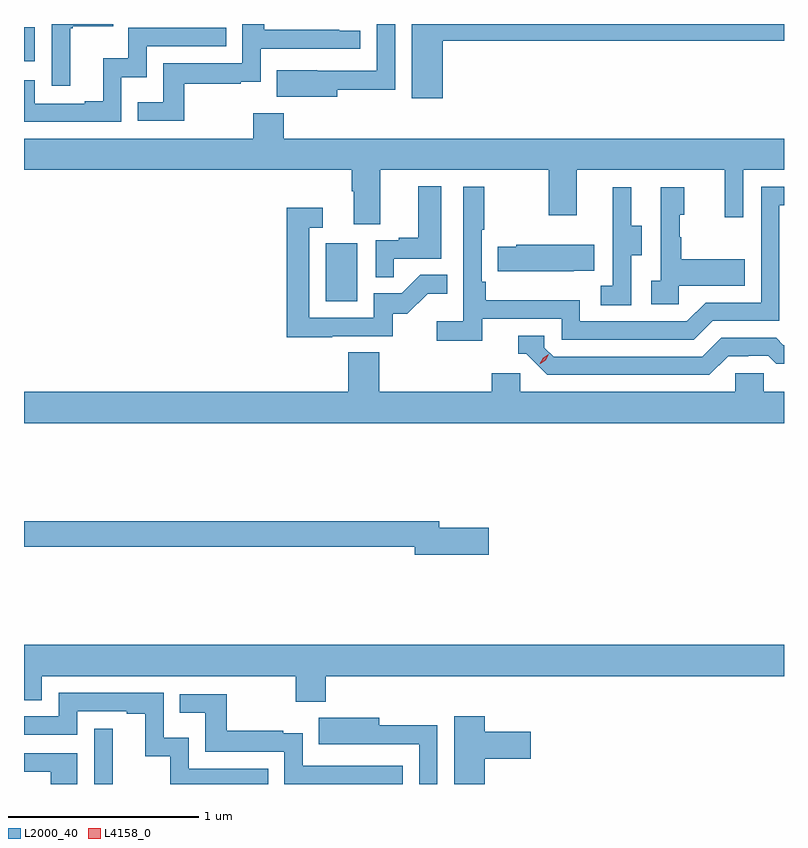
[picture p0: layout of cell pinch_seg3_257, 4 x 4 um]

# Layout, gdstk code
import gdstk
lib = gdstk.Library(unit=1e-6, precision=1e-09)
def R(c, l, rs):  # rectangles x0, y0, x1, y1
    for r in rs: c.add(gdstk.rectangle(r[:2], r[2:], *l))
def P(c, l, *ps):  # polygons
    for p in ps: c.add(gdstk.Polygon(p, *l))
L2000_40 = (2000, 40)
L4158_0 = (4158, 0)

pinch_seg3_257 = lib.new_cell('pinch_seg3_257')
R(pinch_seg3_257, L2000_40, [(925.116,720.328,925.213,720.619), (926.336,722.868,926.5,723.175), (924.747,724.131,924.804,724.311)])
P(pinch_seg3_257, L2000_40, [(926.95,724.24),(928.747,724.24),(928.747,724.328),(926.789,724.328),(926.789,723.936),(926.95,723.936)],
  [(924.991,724.305),(925.003,724.305),(925.003,724.316),(925.216,724.316),(925.216,724.328),(924.894,724.328),(924.894,724.002),(924.991,724.002)],
  [(926.395,723.982),(926.7,723.982),(926.7,724.328),(926.604,724.328),(926.604,724.083),(926.291,724.083),(926.291,724.084),(926.077,724.084),(926.077,723.944),(926.395,723.944)],
  [(925.591,724.014),(925.889,724.014),(925.889,724.025),(925.992,724.025),(925.992,724.197),(926.518,724.197),(926.518,724.293),(926.405,724.293),(926.405,724.298),(926.012,724.298),(926.012,724.328),(925.896,724.328),(925.896,724.122),(925.48,724.122),(925.48,723.916),(925.345,723.916),(925.345,723.819),(925.591,723.819)],
  [(925.26,724.049),(925.392,724.049),(925.392,724.212),(925.811,724.212),(925.811,724.308),(925.296,724.308),(925.296,724.147),(925.163,724.147),(925.163,723.922),(925.067,723.922),(925.067,723.909),(924.804,723.909),(924.804,724.032),(924.747,724.032),(924.747,723.813),(925.26,723.813)],
  [(926.623,723.56),(927.508,723.56),(927.508,723.321),(927.655,723.321),(927.655,723.56),(928.436,723.56),(928.436,723.312),(928.533,723.312),(928.533,723.56),(928.747,723.56),(928.747,723.724),(926.114,723.724),(926.114,723.859),(925.954,723.859),(925.954,723.724),(924.747,723.724),(924.747,723.56),(926.471,723.56),(926.471,723.448),(926.483,723.448),(926.483,723.274),(926.623,723.274)],
  [(926.693,723.093),(926.944,723.093),(926.944,723.475),(926.822,723.475),(926.822,723.202),(926.719,723.202),(926.719,723.189),(926.598,723.189),(926.598,722.995),(926.693,722.995)],
  [(927.158,722.778),(927.576,722.778),(927.576,722.667),(928.273,722.667),(928.372,722.766),(928.722,722.766),(928.722,723.375),(928.747,723.375),(928.747,723.471),(928.626,723.471),(928.626,722.862),(928.335,722.862),(928.236,722.763),(927.672,722.763),(927.672,722.875),(927.176,722.875),(927.176,722.971),(927.156,722.971),(927.156,723.244),(927.169,723.244),(927.169,723.472),(927.06,723.472),(927.06,722.764),(926.919,722.764),(926.919,722.662),(927.158,722.662)],
  [(927.942,723.112),(927.997,723.112),(927.997,723.267),(927.943,723.267),(927.943,723.469),(927.845,723.469),(927.845,723.255),(927.846,723.255),(927.846,722.951),(927.783,722.951),(927.783,722.848),(927.942,722.848)],
  [(928.194,722.951),(928.541,722.951),(928.541,723.091),(928.207,723.091),(928.207,723.206),(928.197,723.206),(928.197,723.324),(928.222,723.324),(928.222,723.469),(928.098,723.469),(928.098,722.978),(928.047,722.978),(928.047,722.853),(928.194,722.853)],
  [(926.369,722.685),(926.688,722.685),(926.688,722.802),(926.764,722.802),(926.871,722.909),(926.975,722.909),(926.975,723.008),(926.832,723.008),(926.734,722.91),(926.589,722.91),(926.589,722.781),(926.247,722.781),(926.247,723.255),(926.32,723.255),(926.32,723.361),(926.131,723.361),(926.131,722.68),(926.369,722.68)],
  [(927.641,723.029),(927.749,723.029),(927.749,723.166),(927.339,723.166),(927.339,723.156),(927.241,723.156),(927.241,723.026),(927.641,723.026)],
  [(928.453,722.58),(928.56,722.58),(928.56,722.583),(928.663,722.583),(928.705,722.541),(928.747,722.541),(928.747,722.637),(928.744,722.637),(928.705,722.676),(928.416,722.676),(928.317,722.577),(927.534,722.577),(927.486,722.625),(927.486,722.688),(927.347,722.688),(927.347,722.592),(927.39,722.592),(927.501,722.481),(928.354,722.481)],
  [(927.209,722.49),(927.209,722.392),(926.618,722.392),(926.618,722.6),(926.453,722.6),(926.453,722.392),(924.747,722.392),(924.747,722.228),(928.747,722.228),(928.747,722.392),(928.641,722.392),(928.641,722.49),(928.491,722.49),(928.491,722.392),(927.36,722.392),(927.36,722.49)],
  [(927.193,721.676),(926.932,721.676),(926.932,721.712),(924.747,721.712),(924.747,721.576),(926.804,721.576),(926.804,721.534),(927.193,721.534)],
  [(926.336,720.896),(928.747,720.896),(928.747,721.06),(924.747,721.06),(924.747,720.769),(924.84,720.769),(924.84,720.896),(926.176,720.896),(926.176,720.761),(926.336,720.761)],
  [(926.033,720.408),(925.614,720.408),(925.614,720.571),(925.482,720.571),(925.482,720.807),(924.93,720.807),(924.93,720.684),(924.747,720.684),(924.747,720.588),(925.026,720.588),(925.026,720.711),(925.289,720.711),(925.289,720.699),(925.385,720.699),(925.385,720.473),(925.518,720.473),(925.518,720.328),(926.033,720.328)],
  [(926.74,720.423),(926.214,720.423),(926.214,720.595),(926.111,720.595),(926.111,720.607),(925.813,720.607),(925.813,720.801),(925.567,720.801),(925.567,720.704),(925.702,720.704),(925.702,720.498),(926.118,720.498),(926.118,720.328),(926.74,720.328)],
  [(927.172,720.461),(927.415,720.461),(927.415,720.603),(927.172,720.603),(927.172,720.685),(927.011,720.685),(927.011,720.328),(927.172,720.328)],
  [(926.922,720.638),(926.617,720.638),(926.617,720.676),(926.299,720.676),(926.299,720.536),(926.513,720.536),(926.513,720.537),(926.826,720.537),(926.826,720.328),(926.922,720.328)],
  [(925.026,720.489),(924.747,720.489),(924.747,720.393),(924.889,720.393),(924.889,720.328),(925.026,720.328)])
P(pinch_seg3_257, L4158_0, [(927.462,722.54),(927.462,722.54),(927.479,722.572),(927.509,722.591),(927.509,722.591),(927.509,722.591),(927.493,722.559),(927.463,722.54)])

lib.write_gds('pinch_seg3_257.gds')
